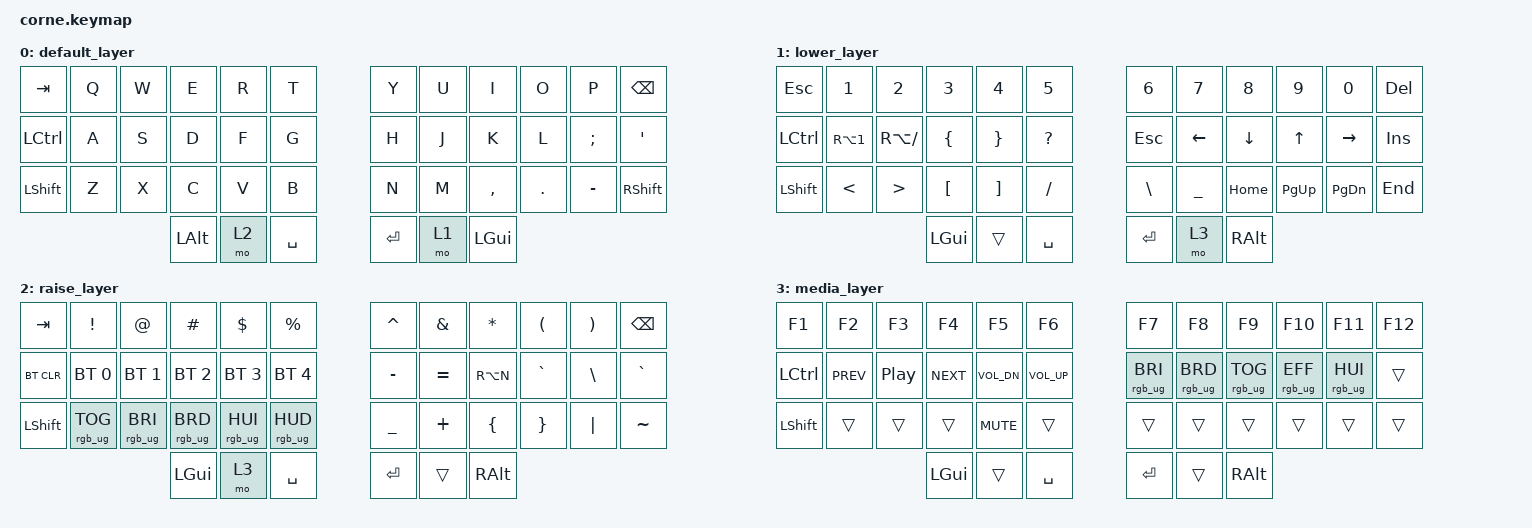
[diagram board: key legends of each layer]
/*
 * Copyright (c) 2020 The ZMK Contributors
 *
 * SPDX-License-Identifier: MIT
 */

#define ZMK_MOUSE_DEFAULT_SCRL_VAL 35 // 10
#include <behaviors.dtsi>
#include <dt-bindings/zmk/bt.h>
#include <dt-bindings/zmk/ext_power.h>
#include <dt-bindings/zmk/keys.h>
#include <dt-bindings/zmk/rgb.h>

// Definiciones para layout español
#define ES_NTIL RA(N)  // ñ
#define ES_ACUT GRAVE  // ´ (acento)
#define ES_IEXL RA(N1) // ¡
#define ES_IQUE RA(FSLH) // ¿

/ {
        keymap {
                compatible = "zmk,keymap";

                default_layer {
// -----------------------------------------------------------------------------------------
// |  TAB |  Q  |  W  |  E  |  R  |  T  |   |  Y  |  U   |  I  |  O  |  P  | BSPC |
// | CTRL |  A  |  S  |  D  |  F  |  G  |   |  H  |  J   |  K  |  L  |  Ñ  |  ´   |
// | SHFT |  Z  |  X  |  C  |  V  |  B  |   |  N  |  M   |  ,  |  .  |  -  | SHIFT|
//                    | GUI | LWR | SPC |   | ENT | RSE  | ALT |
                        bindings = <
   &kp TAB   &kp Q &kp W &kp E &kp R &kp T   &kp Y &kp U  &kp I     &kp O   &kp P    &kp BSPC
   &kp LCTRL &kp A &kp S &kp D &kp F &kp G   &kp H &kp J  &kp K     &kp L   &kp SEMI &kp SQT
   &kp LSHFT &kp Z &kp X &kp C &kp V &kp B   &kp N &kp M  &kp COMMA &kp DOT &kp MINUS &kp RSHIFT
                  &kp LALT &mo 2 &kp SPACE   &kp RET &mo 1 &kp LGUI
                        >;
                };

                lower_layer {
// -----------------------------------------------------------------------------------------
// |  ESC |  1  |  2  |  3  |  4  |  5  |   |  6  |  7  |   8  |   9   |  0     | DEL |
// | CTRL |  ¡  |  ¿  |  {  |  }  |  ?  |   | ESC | LFT | DOWN |   UP  | RIGHT  | INS |
// | SHFT |  <  |  >  |  [  |  ]  |  /  |   |  \  |  _  | HOME | PG_UP | PG_DWN | END |
//                    | GUI |     | SPC |   | ENT | MED | ALT |
                        bindings = <
   &kp ESC    &kp N1    &kp N2    &kp N3    &kp N4    &kp N5         &kp N6   &kp N7   &kp N8   &kp N9     &kp N0      &kp DEL
   &kp LCTRL  &kp RA(N1) &kp RA(FSLH) &kp LBRC &kp RBRC &kp QMARK    &kp ESC  &kp LEFT &kp DOWN &kp UP     &kp RIGHT   &kp INS
   &kp LSHFT  &kp LT    &kp GT    &kp LBKT  &kp RBKT  &kp FSLH       &kp BSLH &kp UNDER &kp HOME &kp PG_UP &kp PG_DN   &kp END
                                    &kp LGUI     &trans       &kp SPACE      &kp RET  &mo 3   &kp RALT
                        >;
                };

                raise_layer {
// -----------------------------------------------------------------------------------------
// |  TAB |  !  |  @  |  #  |  $  |  %  |   |  ^  |  &  |  *  |  (  |  )  | BSPC |
// | BTCLR| BT1 | BT2 | BT3 | BT4 | BT5 |   |  -  |  =  |  Ñ  |  ´  |  \  |  `   |
// | SHFT | RGB | RGB | RGB | RGB | RGB |   |  _  |  +  |  {  |  }  | "|" |  ~   |
//                    | GUI | MED | SPC |   | ENT |     | ALT |
                        bindings = <
   &kp TAB      &kp EXCL        &kp AT          &kp HASH        &kp DLLR        &kp PRCNT           &kp CARET &kp AMPS  &kp ASTRK &kp LPAR &kp RPAR &kp BSPC
   &bt BT_CLR   &bt BT_SEL 0    &bt BT_SEL 1    &bt BT_SEL 2    &bt BT_SEL 3    &bt BT_SEL 4        &kp MINUS &kp EQUAL &kp RA(N) &kp GRAVE &kp BSLH &kp GRAVE
   &kp LSHFT &rgb_ug RGB_TOG &rgb_ug RGB_BRI &rgb_ug RGB_BRD &rgb_ug RGB_HUI &rgb_ug RGB_HUD &kp UNDER &kp PLUS  &kp LBRC  &kp RBRC &kp PIPE &kp TILDE
                             &kp LGUI &mo 3   &kp SPACE   &kp RET   &trans    &kp RALT
                        >;
                };

                media_layer {
// -----------------------------------------------------------------------------------------
// | F1   | F2  | F3  | F4  | F5  | F6  |   | F7  | F8  | F9  | F10 | F11 | F12  |
// | CTRL |PREV |PLAY |NEXT |VOL- |VOL+ |   |RGB+ |RGB- |RGBT |RGBE |RGBH |      |
// | SHFT |     |     |     |MUTE |     |   |     |     |     |     |     |      |
//                    | GUI |     | SPC |   | ENT |     | ALT |
                        bindings = <
   &kp F1     &kp F2       &kp F3       &kp F4       &kp F5       &kp F6           &kp F7           &kp F8           &kp F9       &kp F10      &kp F11      &kp F12
   &kp LCTRL  &kp C_PREV   &kp C_PP     &kp C_NEXT   &kp C_VOL_DN &kp C_VOL_UP     &rgb_ug RGB_BRI  &rgb_ug RGB_BRD  &rgb_ug RGB_TOG &rgb_ug RGB_EFF &rgb_ug RGB_HUI &trans
   &kp LSHFT  &trans       &trans       &trans       &kp C_MUTE   &trans           &trans           &trans           &trans       &trans       &trans       &trans
                                        &kp LGUI     &trans       &kp SPACE        &kp RET          &trans           &kp RALT
                        >;
                };
        };
};
